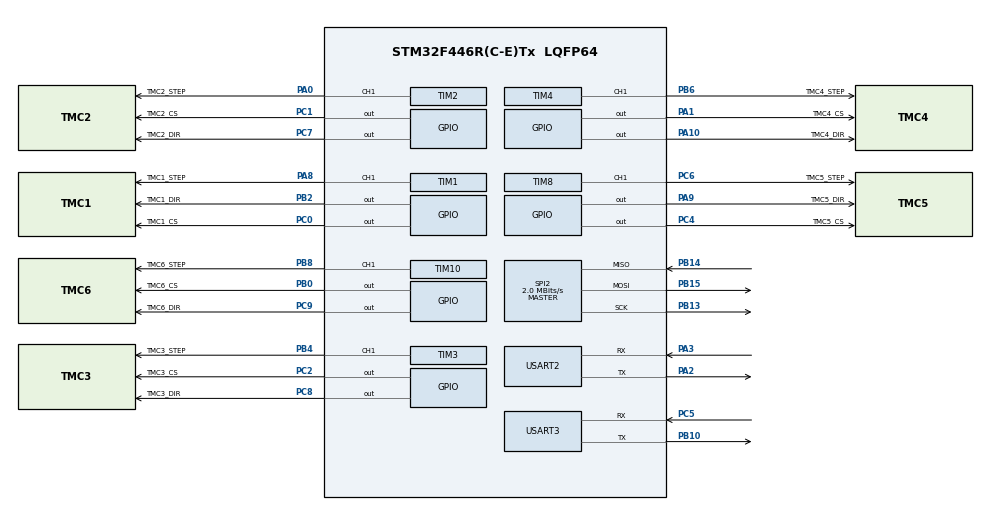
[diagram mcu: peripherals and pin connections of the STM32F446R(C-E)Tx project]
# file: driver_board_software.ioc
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Mcu.Family=STM32F4
Mcu.Name=STM32F446R(C-E)Tx
Mcu.Package=LQFP64
NVIC.PriorityGroup=NVIC_PRIORITYGROUP_4
NVIC.TIM1_UP_TIM10_IRQn=true\:0\:0\:false\:false\:true\:true\:true\:true
NVIC.TIM5_IRQn=true\:0\:0\:false\:false\:true\:true\:true\:true
NVIC.USART2_IRQn=true\:0\:0\:false\:false\:true\:true\:true\:true
NVIC.USART3_IRQn=true\:0\:0\:false\:false\:true\:true\:true\:true
PA0-WKUP.GPIO_Label=TMC2_STEP
PA0-WKUP.Signal=S_TIM2_CH1_ETR
PA1.GPIO_Label=TMC4_CS
PA1.PinState=GPIO_PIN_SET
PA1.Signal=GPIO_Output
PA10.GPIO_Label=TMC4_DIR
PA10.GPIO_Speed=GPIO_SPEED_FREQ_MEDIUM
PA10.PinState=GPIO_PIN_SET
PA10.Signal=GPIO_Output
PA2.Mode=Asynchronous
PA2.Signal=USART2_TX
PA3.Mode=Asynchronous
PA3.Signal=USART2_RX
PA8.GPIO_Label=TMC1_STEP
PA8.Signal=S_TIM1_CH1
PA9.GPIO_Label=TMC5_DIR
PA9.GPIO_Speed=GPIO_SPEED_FREQ_MEDIUM
PA9.PinState=GPIO_PIN_SET
PA9.Signal=GPIO_Output
PB0.GPIO_Label=TMC6_CS
PB0.GPIO_Speed=GPIO_SPEED_FREQ_MEDIUM
PB0.PinState=GPIO_PIN_SET
PB0.Signal=GPIO_Output
PB10.Mode=Asynchronous
PB10.Signal=USART3_TX
PB13.Mode=Full_Duplex_Master
PB13.Signal=SPI2_SCK
PB14.Mode=Full_Duplex_Master
PB14.Signal=SPI2_MISO
PB15.Mode=Full_Duplex_Master
PB15.Signal=SPI2_MOSI
PB2.GPIO_Label=TMC1_DIR
PB2.GPIO_Speed=GPIO_SPEED_FREQ_MEDIUM
PB2.PinState=GPIO_PIN_SET
PB2.Signal=GPIO_Output
PB4.GPIO_Label=TMC3_STEP
PB4.Signal=S_TIM3_CH1
PB6.GPIO_Label=TMC4_STEP
PB6.Signal=S_TIM4_CH1
PB8.GPIO_Label=TMC6_STEP
PB8.Signal=S_TIM10_CH1
PC0.GPIO_Label=TMC1_CS
PC0.PinState=GPIO_PIN_SET
PC0.Signal=GPIO_Output
PC1.GPIO_Label=TMC2_CS
PC1.GPIO_Speed=GPIO_SPEED_FREQ_LOW
PC1.PinState=GPIO_PIN_SET
PC1.Signal=GPIO_Output
PC2.GPIO_Label=TMC3_CS
PC2.PinState=GPIO_PIN_SET
PC2.Signal=GPIO_Output
PC4.GPIO_Label=TMC5_CS
PC4.GPIO_Speed=GPIO_SPEED_FREQ_MEDIUM
PC4.PinState=GPIO_PIN_SET
PC4.Signal=GPIO_Output
PC5.Mode=Asynchronous
PC5.Signal=USART3_RX
PC6.GPIO_Label=TMC5_STEP
PC6.Signal=S_TIM8_CH1
PC7.GPIO_Label=TMC2_DIR
PC7.PinState=GPIO_PIN_SET
PC7.Signal=GPIO_Output
PC8.GPIO_Label=TMC3_DIR
PC8.PinState=GPIO_PIN_SET
PC8.Signal=GPIO_Output
PC9.GPIO_Label=TMC6_DIR
PC9.PinState=GPIO_PIN_SET
PC9.Signal=GPIO_Output
ProjectManager.HeapSize=0x200
ProjectManager.StackSize=0x400
ProjectManager.TargetToolchain=STM32CubeIDE
RCC.CortexFreq_Value=16000000
RCC.USBFreq_Value=96000000
RCC.VCOOutputFreq_Value=192000000
SH.S_TIM10_CH1.0=TIM10_CH1,PWM Generation1 CH1
SH.S_TIM1_CH1.0=TIM1_CH1,PWM Generation1 CH1
SH.S_TIM2_CH1_ETR.0=TIM2_CH1,PWM Generation1 CH1
SH.S_TIM3_CH1.0=TIM3_CH1,PWM Generation1 CH1
SH.S_TIM4_CH1.0=TIM4_CH1,PWM Generation1 CH1
SH.S_TIM8_CH1.0=TIM8_CH1,PWM Generation1 CH1
SPI2.BaudRatePrescaler=SPI_BAUDRATEPRESCALER_8
SPI2.CLKPhase=SPI_PHASE_2EDGE
SPI2.CLKPolarity=SPI_POLARITY_HIGH
SPI2.CalculateBaudRate=2.0 MBits/s
SPI2.Direction=SPI_DIRECTION_2LINES
SPI2.Mode=SPI_MODE_MASTER
SPI2.VirtualType=VM_MASTER
TIM1.AutomaticOutput=TIM_AUTOMATICOUTPUT_ENABLE
TIM1.Channel-PWM\ Generation1\ CH1=TIM_CHANNEL_1
TIM1.Period=999
TIM1.Prescaler=15
TIM1.Pulse-PWM\ Generation1\ CH1=500
TIM10.Channel=TIM_CHANNEL_1
TIM10.Period=999
TIM10.Prescaler=15
TIM2.Channel-PWM\ Generation1\ CH1=TIM_CHANNEL_1
TIM2.Period=999
TIM2.Prescaler=15
TIM3.Channel-PWM\ Generation1\ CH1=TIM_CHANNEL_1
TIM3.Period=999
TIM3.Prescaler=15
TIM3.Pulse-PWM\ Generation1\ CH1=500
TIM4.Channel-PWM\ Generation1\ CH1=TIM_CHANNEL_1
TIM4.Period=999
TIM4.Prescaler=15
TIM4.Pulse-PWM\ Generation1\ CH1=500
TIM5.Period=999
TIM5.Prescaler=15
TIM8.Channel-PWM\ Generation1\ CH1=TIM_CHANNEL_1
TIM8.Period=999
TIM8.Prescaler=15
TIM8.Pulse-PWM\ Generation1\ CH1=500
USART2.VirtualMode=VM_ASYNC
USART3.VirtualMode=VM_ASYNC
VP_TIM10_VS_ClockSourceINT.Mode=Enable_Timer
VP_TIM1_VS_ClockSourceINT.Mode=Internal
VP_TIM2_VS_ClockSourceINT.Mode=Internal
VP_TIM3_VS_ClockSourceINT.Mode=Internal
VP_TIM4_VS_ClockSourceINT.Mode=Internal
VP_TIM5_VS_ClockSourceINT.Mode=Internal
VP_TIM8_VS_ClockSourceINT.Mode=Internal
board=custom

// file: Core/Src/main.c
/* USER CODE BEGIN Header */
/**
  ******************************************************************************
  * @file           : main.c
  * @brief          : Main program body
  ******************************************************************************
  * @attention
  *
  * Copyright (c) 2026 STMicroelectronics.
  * All rights reserved.
  *
  * This software is licensed under terms that can be found in the LICENSE file
  * in the root directory of this software component.
  * If no LICENSE file comes with this software, it is provided AS-IS.
  *
  ******************************************************************************
  */
/*
 * SPDX-License-Identifier: GPL-3.0-or-later
 * Copyright (c) 2026 Emanuel Käfer, Matteo Gassler, and Alexander Dick and contributors
 * This program is free software: you can redistribute it and/or modify
 * it under the terms of the GNU General Public License as published by
 * the Free Software Foundation, either version 3 of the License, or
 * (at your option) any later version.
 * This program is distributed WITHOUT ANY EXPRESS OR IMPLIED WARRANTY.
 * See LICENSE-SOFTWARE in the project root for details.
 */

/* USER CODE END Header */
#include "main.h"

SPI_HandleTypeDef hspi2;

TIM_HandleTypeDef htim1;
TIM_HandleTypeDef htim2;
TIM_HandleTypeDef htim3;
TIM_HandleTypeDef htim4;
TIM_HandleTypeDef htim5;
TIM_HandleTypeDef htim8;
TIM_HandleTypeDef htim10;

UART_HandleTypeDef huart2;
UART_HandleTypeDef huart3;

/* USER CODE BEGIN PV */

#define axis 2

#define PI 3.14159265359f //PI
#define MOTOR_STEPS 200.0f //steps/revolution
#define MICROSTEPS 16.0f //defined microsteps
#define GEAR_RATIO 20.0f //gear ratio for every axis

//uart setup
uint8_t rx_byte = 0;
char rx_buffer[128];
uint8_t rx_index = 0;
volatile uint8_t cmd_ready = 0;
uint8_t uart_result=0;

float target_steps[] ={0.0f, 0.0f, 0.0f,0.0f,0.0f,0.0f};
/* USER CODE END PV */

void SystemClock_Config(void);
static void MX_GPIO_Init(void);
static void MX_USART2_UART_Init(void);
static void MX_TIM1_Init(void);
static void MX_USART3_UART_Init(void);
static void MX_TIM2_Init(void);
static void MX_TIM3_Init(void);
static void MX_TIM4_Init(void);
static void MX_TIM5_Init(void);
static void MX_TIM8_Init(void);
static void MX_TIM10_Init(void);
static void MX_SPI2_Init(void);
/* USER CODE BEGIN PFP */
// Deklaration der TMC Funktion, falls nicht über Header verfügbar
//extern void TMC_WriteReg(uint8_t addr, uint32_t value);
//extern uint32_t TMC_ReadReg(uint8_t addr);
/* USER CODE END PFP */

/* USER CODE BEGIN 0 */

// Arrays für die Hardware-Timer
TIM_HandleTypeDef* AXIS_TIMERS[6] = {&htim1, &htim2, &htim3, &htim4, &htim8, &htim10};
uint32_t AXIS_CHANNELS[6] = {TIM_CHANNEL_1, TIM_CHANNEL_1, TIM_CHANNEL_1, TIM_CHANNEL_1, TIM_CHANNEL_1, TIM_CHANNEL_1};

// Homeangles from urdf base und 1 sind vertauscht wegen ding was nicht wolen lösen ich jetzt, müsste trotzdem funktionieren(auch in IQR ganz am ende sehen)
//-0.3470f
//float home_rad[6]={ 0.0f, 0.0f, 0.0f, 0.0f, 0.0f, 0.0f};//eig 0.0171f, 0.3500f, 0.3363f, -1.0126f, -0.0202f, 2.1291f aber stimmt nicht deshalb herausgemessen
//Limitangles from solidworks
//float limit_rad[6]={ 0.0171f, 1.3150f, 1.6177f, -1.0126f, 1.6481f, 2.1291f}; //0.0171f, 1.7615f, 1.6177f, -1.0126f, 1.6481f, 2.1291f

//array for homing pins
GPIO_TypeDef* DIR_PORTS[6] = {TMC1_DIR_GPIO_Port, TMC2_DIR_GPIO_Port,  TMC3_DIR_GPIO_Port, TMC4_DIR_GPIO_Port, TMC5_DIR_GPIO_Port, TMC6_DIR_GPIO_Port};
uint16_t DIR_PINS[6]  = {TMC1_DIR_Pin, TMC2_DIR_Pin,  TMC3_DIR_Pin, TMC4_DIR_Pin, TMC5_DIR_Pin, TMC6_DIR_Pin};

// Status-Variables
uint8_t ax = 0; // 0 = Base, 1 = Achse 1, ..., 5 = Achse 5

volatile uint32_t debug_counter = 0;

volatile uint32_t move_start_time = 0;
volatile uint32_t axis_finish_time[6] = {0};
volatile uint8_t print_results_flag = 0;

//registers for TMC
#define GSTAT 0x01
#define GCONF 0x00
#define IOIN 0x04
#define IHOLDIRUN 0x10	//write only, returns 0x0 when read
#define CHOPCONF 0X6C

// Constants for state machine
typedef enum {
    STATE_INIT,
    STATE_HOMING,
    STATE_HOMING_OFFSET,
    STATE_READY,
	STATE_MOVING,
    STATE_ERROR
} SystemState;

SystemState currentState = STATE_INIT;	//TODO: change back

//variables for ramp profile
typedef struct {
	float    current_freq;   // Hz, aktuelle Schrittfrequenz
	float    vmax;           // Hz, Zielgeschwindigkeit dieser Achse für diesen Move
	float    accel;          // Hz pro Sekunde
    float    pos;             // Schritte, als float für Sub-Schritt-Genauigkeit in der Integration
    float    target;          // Schritte, Ziel
    uint8_t  direction;
    uint8_t  active;
} AxisRamp;

AxisRamp axisRamp[6];

//Stop/Start
static void Step_Start(uint8_t ax)
{

    HAL_TIM_PWM_Start(AXIS_TIMERS[ax], AXIS_CHANNELS[ax]);

    // MOE force enable only Advanced Timern
    TIM_HandleTypeDef* htim = AXIS_TIMERS[ax];
    if (htim->Instance == TIM1 || htim->Instance == TIM8) {
    	__HAL_TIM_MOE_ENABLE(htim);
    }
}

static void Step_Stop(uint8_t ax)
{
    TIM_HandleTypeDef* htim = AXIS_TIMERS[ax];
    HAL_TIM_PWM_Stop(htim, AXIS_CHANNELS[ax]);
    HAL_TIM_Base_Stop_IT(htim);

    // MOE force disable only Advanced Timern
    if (htim->Instance == TIM1 || htim->Instance == TIM8) {
        __HAL_TIM_MOE_DISABLE_UNCONDITIONALLY(htim);
    }
}

//set frequenzy
static void Step_SetFreqHz(uint8_t ax, uint32_t freq_hz)
{
    TIM_HandleTypeDef* htim = AXIS_TIMERS[ax];
    uint32_t channel = AXIS_CHANNELS[ax];

    if (freq_hz == 0) {
        __HAL_TIM_SET_COMPARE(htim, channel, 0); // keine Pulse
        return;
    }

    const uint32_t timer_tick_hz = 1000000; // 1 MHz bei Prescaler=15 und 16MHz clock
    uint32_t arr = (timer_tick_hz / freq_hz) - 1;

    if (arr < 2) arr = 2;
    if (arr > 0xFFFF) arr = 0xFFFF;

    htim->Instance->CR1 |= TIM_CR1_ARPE;

    __HAL_TIM_SET_AUTORELOAD(htim, arr);
    __HAL_TIM_SET_COMPARE(htim, channel, (arr + 1) / 2); // 50% duty
}

//Ramps
void UpdateAllRamps(float dt, uint8_t min_freq)
{
	//debug_counter ++;
    for (uint8_t ax = 0; ax < axis; ax++) {
        if (!axisRamp[ax].active) continue;

        float remaining = axisRamp[ax].target - axisRamp[ax].pos;
        float dir_sign = (remaining >= 0) ? 1.0f : -1.0f;
        float remaining_abs = fabsf(remaining);

        // calculate breaking distance
        float decel_dist = (axisRamp[ax].current_freq * axisRamp[ax].current_freq)
                            / (2.0f * axisRamp[ax].accel);

        //calculating if decceleration or acceleration is needed
        if (remaining_abs <= decel_dist) {
            axisRamp[ax].current_freq -= axisRamp[ax].accel * dt;
        } else if (axisRamp[ax].current_freq < axisRamp[ax].vmax) {
            axisRamp[ax].current_freq += axisRamp[ax].accel * dt;
        }

        if (axisRamp[ax].current_freq < min_freq){
        	axisRamp[ax].current_freq = min_freq;
        }
        if (axisRamp[ax].current_freq > axisRamp[ax].vmax){
        	axisRamp[ax].current_freq = axisRamp[ax].vmax;
        }

        // Position update
        axisRamp[ax].pos += dir_sign * axisRamp[ax].current_freq * dt;

        //target reached
        if (remaining_abs < 1.0f) {
            Step_Stop(ax);
            axisRamp[ax].active = 0;
            axis_finish_time[ax] = HAL_GetTick() - move_start_time;

            continue;
        }
        //set a new frequency everytime for every axis
        Step_SetFreqHz(ax, (uint32_t)axisRamp[ax].current_freq);
    }
}

void StartMove(uint8_t ax, float target_steps, float vmax, float accel)
{

	printf("IN STARTMOVE\r\n");
    axisRamp[ax].pos = 0.0f;
    axisRamp[ax].target = target_steps;
    axisRamp[ax].vmax = vmax;
    axisRamp[ax].accel = accel;
    axisRamp[ax].current_freq = 50.0f;
    axisRamp[ax].active = 1;

    HAL_GPIO_WritePin(DIR_PORTS[ax], DIR_PINS[ax], target_steps>0 ? GPIO_PIN_SET : GPIO_PIN_RESET);

    Step_Start(ax);

}

// Berechnet vmax für eine Achse, damit sie in genau t Sekunden fertig ist
// bei fester Beschleunigung a und Distanz d
float ComputeSyncedVmax(float d, float a, float t)
{
    float disc = (a*t)*(a*t) - 4.0f*a*d;
    if (disc < 0.0f) disc = 0.0f;
    return (a*t - sqrtf(disc)) / 2.0f;
}

void StartSyncedMove(float target_steps[6], float accel, float vmax_max, uint8_t axis_count)
{
    float t_sync = 0.0f;

    // Calculating the time every axis would need for the distance if it would go to vmax.
    for (uint8_t i = 0; i < axis_count; i++) {
        float d = fabsf(target_steps[i]);
        if (d == 0.0f) continue;
        float t_i = (2.0f*vmax_max <= sqrtf(4*d*accel)) ? (d/vmax_max + vmax_max/accel) : (2.0f*sqrtf(d/accel)); //Trapez oder Dreieck ? Trapezformel : Dreiecksformel
        if (t_i > t_sync){
        	t_sync = t_i;	//es wird nach der längsten dauer gesucht und diese wird in t_synch gespeichert
        }
    }

    //Messvariablen zurücksetzen
        for(uint8_t i = 0; i < 6; i++) {
            axis_finish_time[i] = 0;
        }
        print_results_flag = 0;

        // 2. Startzeit merken (genau bevor die ersten Steps generiert werden)
        move_start_time = HAL_GetTick();

    //Für jede Achse vmax neu berechnen, damit alle bei t_sync fertig sind
    for (uint8_t i = 0; i < axis_count; i++) {
        float d = fabsf(target_steps[i]);
        float v = ComputeSyncedVmax(d, accel, t_sync);
        StartMove(i, target_steps[i], v, accel);
    }
}

uint8_t process_uart_command(void) {
    // Wenn kein neuer Befehl vorliegt, sofort abbrechen
    if (!cmd_ready) {
        return 0;
    }
    uint8_t result=0;
    cmd_ready = 0; // Flag zurücksetzen

    // Fall 1: Homing-Befehl
    if (strncmp(rx_buffer, "HOME", 4) == 0) {
        //printf("OK\n");
        result = 1;
    }
    // Fall 2: Bewegungsbefehl ("MOVE J1:... J2:...")
    else if (strncmp(rx_buffer, "MOVE", 4) == 0) {
        int parsed = sscanf(rx_buffer, "MOVE J1:%f J2:%f J3:%f J4:%f J5:%f J6:%f",
                            &target_steps[0], &target_steps[1], &target_steps[2],
                            &target_steps[3], &target_steps[4], &target_steps[5]);

        if (parsed == 6.0) {
        	result = 2;//normale sachen abfahren
        	//for (uint8_t i = 0; i<6; i++){
			//	printf("target steps %d: %f", i, target_steps[i]);
			} else {
				result = -1;//error
			}

    }

    // Puffer leeren für die nächste Nachricht
    memset(rx_buffer, 0, sizeof(rx_buffer));

    return result;
}

/* USER CODE END 0 */

int main(void)
{

  /* MCU Configuration--------------------------------------------------------*/

  /* Reset of all peripherals, Initializes the Flash interface and the Systick. */
  HAL_Init();

  /* Configure the system clock */
  SystemClock_Config();

  /* Initialize all configured peripherals */
  MX_GPIO_Init();
  MX_USART2_UART_Init();
  MX_TIM1_Init();
  MX_USART3_UART_Init();
  MX_TIM2_Init();
  MX_TIM3_Init();
  MX_TIM4_Init();
  MX_TIM5_Init();
  MX_TIM8_Init();
  MX_TIM10_Init();
  MX_SPI2_Init();
  /* USER CODE BEGIN 2 */
  //uart empfang aktivieren
  HAL_UART_Receive_IT(&huart2, &rx_byte, 1);
  HAL_UART_Receive_IT(&huart3, &rx_byte, 1);
  //start TIM5 in interrupt mode
  HAL_TIM_Base_Start_IT(&htim5);	//goofy ahh das ma des selber mochn muas lowk so 3tog debugen bis i do draufkemma bi
  /* USER CODE END 2 */

  /* Infinite loop */
  while (1)
  {

    /* USER CODE BEGIN 3 */
    switch (currentState)
    {
      case STATE_INIT:
        HAL_Delay(500); //Boot-Delay für die TMC Treiber!
        printf("\r\n--- Starte TMC5160 Initialisierung ---\r\n");
        uint8_t all_ok = 1;
        for (uint8_t ax = 0; ax < axis; ax++) {
			printf("axis %d\r\n", ax );
        	TMC_WriteReg(ax, GSTAT, 0x00000007);
        	printf("GSTAT of %d: 0x%08lx\r\n",ax, TMC_ReadReg(ax, GSTAT));

        	TMC_WriteReg(ax, GCONF, 0x00000005);
        	printf("GCONF of %d: 0x%08lx\r\n",ax, TMC_ReadReg(ax, GCONF));

        	TMC_WriteReg(ax, IHOLDIRUN, 0x0008100A);

        	TMC_WriteReg(ax, CHOPCONF, 0x100C0403);
        	printf("CHOPCONF of %d: 0x%08lx\r\n",ax, TMC_ReadReg(ax, CHOPCONF));

        	if (TMC_ReadReg(ax, GSTAT)==0x0) {
        		printf("GSTAT of %d ok, going into ready\r\n",ax);

        	}else {
        		printf("GSTAT of %d not ok:((  : 0x%08lx\r\n",ax, TMC_ReadReg(ax, GSTAT));
        		all_ok=0;
        	}
        }

        currentState = all_ok ? STATE_READY : STATE_ERROR;

        break;

      case STATE_HOMING:
          printf("OK\n\r");

          break;

      case STATE_HOMING_OFFSET:
//    	  if (print_results_flag == 0) {
//
//    	          uint8_t all_finished = 1;
//    	          for(uint8_t i = 0; i < axis; i++) {
//    	              // Wenn eine Achse losfahren sollte, aber ihr active-Flag noch 1 ist
//    	              if (axisRamp[i].active == 1) {
//    	                  all_finished = 0;
//    	                  break; // Nicht alle fertig, Prüfung abbrechen
//    	              }
//    	          }
//
//    	          // Wenn alle Achsen fertig sind -> Ergebnisse ausdrucken!
//    	          if (all_finished == 1) {
//    	              printf("\n--- Synchronisations-Test ---\n");
//    	              for(uint8_t i = 0; i < axis; i++) {
//    	                  if (target_steps[i] != 0.0f) { // Nur bewegte Achsen anzeigen
//    	                      printf("Achse %d: %lu ms\n", i, axis_finish_time[i]);
//
//    	              }
//    	              printf("-----------------------------\n");
//
//    	              // Flag setzen, damit wir nicht endlos spammen
//    	              print_results_flag = 1;
//
//    	          }
//    	          //currentState=STATE_HOMING;
//    	      }
          break;

      case STATE_READY:
    	  //printf("MOVvvvvvvvvvvvvvING\r\n");
    	  uart_result = process_uart_command();
    	  if (uart_result==1){
    		  currentState=STATE_HOMING;
    	  }else if (uart_result==2) {
    		  currentState=STATE_MOVING;
		} else if (uart_result==-1) {
			currentState=STATE_ERROR;
		}

    	  //currentState=STATE_MOVING;
          break;

      case STATE_MOVING:
    	  printf("MOVING\r\n");
    	  for (uint8_t i= 0; i < 5; i++) {
			printf("targetsteps %f", target_steps[i]);
		}
    	  StartSyncedMove(target_steps, 5000, 20000, axis);
    	  currentState=STATE_HOMING_OFFSET;
	  	  break;

      case STATE_ERROR:
    	  printf("BAD");
    	  currentState=STATE_HOMING_OFFSET;
          break;

    }
  }
  /* USER CODE END 3 */
}

void SystemClock_Config(void)
{
  RCC_OscInitTypeDef RCC_OscInitStruct = {0};
  RCC_ClkInitTypeDef RCC_ClkInitStruct = {0};

  /** Configure the main internal regulator output voltage
  */
  __HAL_RCC_PWR_CLK_ENABLE();
  __HAL_PWR_VOLTAGESCALING_CONFIG(PWR_REGULATOR_VOLTAGE_SCALE3);

  /** Initializes the RCC Oscillators according to the specified parameters
  * in the RCC_OscInitTypeDef structure.
  */
  RCC_OscInitStruct.OscillatorType = RCC_OSCILLATORTYPE_HSI;
  RCC_OscInitStruct.HSIState = RCC_HSI_ON;
  RCC_OscInitStruct.HSICalibrationValue = RCC_HSICALIBRATION_DEFAULT;
  RCC_OscInitStruct.PLL.PLLState = RCC_PLL_NONE;
  if (HAL_RCC_OscConfig(&RCC_OscInitStruct) != HAL_OK)
  {
    Error_Handler();
  }

  /** Initializes the CPU, AHB and APB buses clocks
  */
  RCC_ClkInitStruct.ClockType = RCC_CLOCKTYPE_HCLK|RCC_CLOCKTYPE_SYSCLK
                              |RCC_CLOCKTYPE_PCLK1|RCC_CLOCKTYPE_PCLK2;
  RCC_ClkInitStruct.SYSCLKSource = RCC_SYSCLKSOURCE_HSI;
  RCC_ClkInitStruct.AHBCLKDivider = RCC_SYSCLK_DIV1;
  RCC_ClkInitStruct.APB1CLKDivider = RCC_HCLK_DIV1;
  RCC_ClkInitStruct.APB2CLKDivider = RCC_HCLK_DIV1;

  if (HAL_RCC_ClockConfig(&RCC_ClkInitStruct, FLASH_LATENCY_0) != HAL_OK)
  {
    Error_Handler();
  }
}

static void MX_SPI2_Init(void)
{

  /* SPI2 parameter configuration*/
  hspi2.Instance = SPI2;
  hspi2.Init.Mode = SPI_MODE_MASTER;
  hspi2.Init.Direction = SPI_DIRECTION_2LINES;
  hspi2.Init.DataSize = SPI_DATASIZE_8BIT;
  hspi2.Init.CLKPolarity = SPI_POLARITY_HIGH;
  hspi2.Init.CLKPhase = SPI_PHASE_2EDGE;
  hspi2.Init.NSS = SPI_NSS_SOFT;
  hspi2.Init.BaudRatePrescaler = SPI_BAUDRATEPRESCALER_8;
  hspi2.Init.FirstBit = SPI_FIRSTBIT_MSB;
  hspi2.Init.TIMode = SPI_TIMODE_DISABLE;
  hspi2.Init.CRCCalculation = SPI_CRCCALCULATION_DISABLE;
  hspi2.Init.CRCPolynomial = 10;
  if (HAL_SPI_Init(&hspi2) != HAL_OK)
  {
    Error_Handler();
  }

}

static void MX_TIM1_Init(void)
{

  TIM_ClockConfigTypeDef sClockSourceConfig = {0};
  TIM_MasterConfigTypeDef sMasterConfig = {0};
  TIM_OC_InitTypeDef sConfigOC = {0};
  TIM_BreakDeadTimeConfigTypeDef sBreakDeadTimeConfig = {0};

  htim1.Instance = TIM1;
  htim1.Init.Prescaler = 15;
  htim1.Init.CounterMode = TIM_COUNTERMODE_UP;
  htim1.Init.Period = 999;
  htim1.Init.ClockDivision = TIM_CLOCKDIVISION_DIV1;
  htim1.Init.RepetitionCounter = 0;
  htim1.Init.AutoReloadPreload = TIM_AUTORELOAD_PRELOAD_DISABLE;
  if (HAL_TIM_Base_Init(&htim1) != HAL_OK)
  {
    Error_Handler();
  }
  sClockSourceConfig.ClockSource = TIM_CLOCKSOURCE_INTERNAL;
  if (HAL_TIM_ConfigClockSource(&htim1, &sClockSourceConfig) != HAL_OK)
  {
    Error_Handler();
  }
  if (HAL_TIM_PWM_Init(&htim1) != HAL_OK)
  {
    Error_Handler();
  }
  sMasterConfig.MasterOutputTrigger = TIM_TRGO_RESET;
  sMasterConfig.MasterSlaveMode = TIM_MASTERSLAVEMODE_DISABLE;
  if (HAL_TIMEx_MasterConfigSynchronization(&htim1, &sMasterConfig) != HAL_OK)
  {
    Error_Handler();
  }
  sConfigOC.OCMode = TIM_OCMODE_PWM1;
  sConfigOC.Pulse = 500;
  sConfigOC.OCPolarity = TIM_OCPOLARITY_HIGH;
  sConfigOC.OCNPolarity = TIM_OCNPOLARITY_HIGH;
  sConfigOC.OCFastMode = TIM_OCFAST_DISABLE;
  sConfigOC.OCIdleState = TIM_OCIDLESTATE_RESET;
  sConfigOC.OCNIdleState = TIM_OCNIDLESTATE_RESET;
  if (HAL_TIM_PWM_ConfigChannel(&htim1, &sConfigOC, TIM_CHANNEL_1) != HAL_OK)
  {
    Error_Handler();
  }
  sBreakDeadTimeConfig.OffStateRunMode = TIM_OSSR_DISABLE;
  sBreakDeadTimeConfig.OffStateIDLEMode = TIM_OSSI_DISABLE;
  sBreakDeadTimeConfig.LockLevel = TIM_LOCKLEVEL_OFF;
  sBreakDeadTimeConfig.DeadTime = 0;
  sBreakDeadTimeConfig.BreakState = TIM_BREAK_DISABLE;
  sBreakDeadTimeConfig.BreakPolarity = TIM_BREAKPOLARITY_HIGH;
  sBreakDeadTimeConfig.AutomaticOutput = TIM_AUTOMATICOUTPUT_ENABLE;
  if (HAL_TIMEx_ConfigBreakDeadTime(&htim1, &sBreakDeadTimeConfig) != HAL_OK)
  {
    Error_Handler();
  }
  HAL_TIM_MspPostInit(&htim1);

}

static void MX_TIM2_Init(void)
{

  TIM_ClockConfigTypeDef sClockSourceConfig = {0};
  TIM_MasterConfigTypeDef sMasterConfig = {0};
  TIM_OC_InitTypeDef sConfigOC = {0};

  htim2.Instance = TIM2;
  htim2.Init.Prescaler = 15;
  htim2.Init.CounterMode = TIM_COUNTERMODE_UP;
  htim2.Init.Period = 999;
  htim2.Init.ClockDivision = TIM_CLOCKDIVISION_DIV1;
  htim2.Init.AutoReloadPreload = TIM_AUTORELOAD_PRELOAD_DISABLE;
  if (HAL_TIM_Base_Init(&htim2) != HAL_OK)
  {
    Error_Handler();
  }
  sClockSourceConfig.ClockSource = TIM_CLOCKSOURCE_INTERNAL;
  if (HAL_TIM_ConfigClockSource(&htim2, &sClockSourceConfig) != HAL_OK)
  {
    Error_Handler();
  }
  if (HAL_TIM_PWM_Init(&htim2) != HAL_OK)
  {
    Error_Handler();
  }
  sMasterConfig.MasterOutputTrigger = TIM_TRGO_RESET;
  sMasterConfig.MasterSlaveMode = TIM_MASTERSLAVEMODE_DISABLE;
  if (HAL_TIMEx_MasterConfigSynchronization(&htim2, &sMasterConfig) != HAL_OK)
  {
    Error_Handler();
  }
  sConfigOC.OCMode = TIM_OCMODE_PWM1;
  sConfigOC.Pulse = 0;
  sConfigOC.OCPolarity = TIM_OCPOLARITY_HIGH;
  sConfigOC.OCFastMode = TIM_OCFAST_DISABLE;
  if (HAL_TIM_PWM_ConfigChannel(&htim2, &sConfigOC, TIM_CHANNEL_1) != HAL_OK)
  {
    Error_Handler();
  }
  HAL_TIM_MspPostInit(&htim2);

}

static void MX_TIM3_Init(void)
{

  TIM_ClockConfigTypeDef sClockSourceConfig = {0};
  TIM_MasterConfigTypeDef sMasterConfig = {0};
  TIM_OC_InitTypeDef sConfigOC = {0};

  htim3.Instance = TIM3;
  htim3.Init.Prescaler = 15;
  htim3.Init.CounterMode = TIM_COUNTERMODE_UP;
  htim3.Init.Period = 999;
  htim3.Init.ClockDivision = TIM_CLOCKDIVISION_DIV1;
  htim3.Init.AutoReloadPreload = TIM_AUTORELOAD_PRELOAD_DISABLE;
  if (HAL_TIM_Base_Init(&htim3) != HAL_OK)
  {
    Error_Handler();
  }
  sClockSourceConfig.ClockSource = TIM_CLOCKSOURCE_INTERNAL;
  if (HAL_TIM_ConfigClockSource(&htim3, &sClockSourceConfig) != HAL_OK)
  {
    Error_Handler();
  }
  if (HAL_TIM_PWM_Init(&htim3) != HAL_OK)
  {
    Error_Handler();
  }
  sMasterConfig.MasterOutputTrigger = TIM_TRGO_RESET;
  sMasterConfig.MasterSlaveMode = TIM_MASTERSLAVEMODE_DISABLE;
  if (HAL_TIMEx_MasterConfigSynchronization(&htim3, &sMasterConfig) != HAL_OK)
  {
    Error_Handler();
  }
  sConfigOC.OCMode = TIM_OCMODE_PWM1;
  sConfigOC.Pulse = 500;
  sConfigOC.OCPolarity = TIM_OCPOLARITY_HIGH;
  sConfigOC.OCFastMode = TIM_OCFAST_DISABLE;
  if (HAL_TIM_PWM_ConfigChannel(&htim3, &sConfigOC, TIM_CHANNEL_1) != HAL_OK)
  {
    Error_Handler();
  }
  HAL_TIM_MspPostInit(&htim3);

}

static void MX_TIM4_Init(void)
{

  TIM_ClockConfigTypeDef sClockSourceConfig = {0};
  TIM_MasterConfigTypeDef sMasterConfig = {0};
  TIM_OC_InitTypeDef sConfigOC = {0};

  htim4.Instance = TIM4;
  htim4.Init.Prescaler = 15;
  htim4.Init.CounterMode = TIM_COUNTERMODE_UP;
  htim4.Init.Period = 999;
  htim4.Init.ClockDivision = TIM_CLOCKDIVISION_DIV1;
  htim4.Init.AutoReloadPreload = TIM_AUTORELOAD_PRELOAD_DISABLE;
  if (HAL_TIM_Base_Init(&htim4) != HAL_OK)
  {
    Error_Handler();
  }
  sClockSourceConfig.ClockSource = TIM_CLOCKSOURCE_INTERNAL;
  if (HAL_TIM_ConfigClockSource(&htim4, &sClockSourceConfig) != HAL_OK)
  {
    Error_Handler();
  }
  if (HAL_TIM_PWM_Init(&htim4) != HAL_OK)
  {
    Error_Handler();
  }
  sMasterConfig.MasterOutputTrigger = TIM_TRGO_RESET;
  sMasterConfig.MasterSlaveMode = TIM_MASTERSLAVEMODE_DISABLE;
  if (HAL_TIMEx_MasterConfigSynchronization(&htim4, &sMasterConfig) != HAL_OK)
  {
    Error_Handler();
  }
  sConfigOC.OCMode = TIM_OCMODE_PWM1;
  sConfigOC.Pulse = 500;
  sConfigOC.OCPolarity = TIM_OCPOLARITY_HIGH;
  sConfigOC.OCFastMode = TIM_OCFAST_DISABLE;
  if (HAL_TIM_PWM_ConfigChannel(&htim4, &sConfigOC, TIM_CHANNEL_1) != HAL_OK)
  {
    Error_Handler();
  }
  HAL_TIM_MspPostInit(&htim4);

}

static void MX_TIM5_Init(void)
{

  TIM_ClockConfigTypeDef sClockSourceConfig = {0};
  TIM_MasterConfigTypeDef sMasterConfig = {0};

  htim5.Instance = TIM5;
  htim5.Init.Prescaler = 15;
  htim5.Init.CounterMode = TIM_COUNTERMODE_UP;
  htim5.Init.Period = 999;
  htim5.Init.ClockDivision = TIM_CLOCKDIVISION_DIV1;
  htim5.Init.AutoReloadPreload = TIM_AUTORELOAD_PRELOAD_DISABLE;
  if (HAL_TIM_Base_Init(&htim5) != HAL_OK)
  {
    Error_Handler();
  }
  sClockSourceConfig.ClockSource = TIM_CLOCKSOURCE_INTERNAL;
  if (HAL_TIM_ConfigClockSource(&htim5, &sClockSourceConfig) != HAL_OK)
  {
    Error_Handler();
  }
  sMasterConfig.MasterOutputTrigger = TIM_TRGO_RESET;
  sMasterConfig.MasterSlaveMode = TIM_MASTERSLAVEMODE_DISABLE;
  if (HAL_TIMEx_MasterConfigSynchronization(&htim5, &sMasterConfig) != HAL_OK)
  {
    Error_Handler();
  }

}

static void MX_TIM8_Init(void)
{

  TIM_ClockConfigTypeDef sClockSourceConfig = {0};
  TIM_MasterConfigTypeDef sMasterConfig = {0};
  TIM_OC_InitTypeDef sConfigOC = {0};
  TIM_BreakDeadTimeConfigTypeDef sBreakDeadTimeConfig = {0};

  htim8.Instance = TIM8;
  htim8.Init.Prescaler = 15;
  htim8.Init.CounterMode = TIM_COUNTERMODE_UP;
  htim8.Init.Period = 999;
  htim8.Init.ClockDivision = TIM_CLOCKDIVISION_DIV1;
  htim8.Init.RepetitionCounter = 0;
  htim8.Init.AutoReloadPreload = TIM_AUTORELOAD_PRELOAD_DISABLE;
  if (HAL_TIM_Base_Init(&htim8) != HAL_OK)
  {
    Error_Handler();
  }
  sClockSourceConfig.ClockSource = TIM_CLOCKSOURCE_INTERNAL;
  if (HAL_TIM_ConfigClockSource(&htim8, &sClockSourceConfig) != HAL_OK)
  {
    Error_Handler();
  }
  if (HAL_TIM_PWM_Init(&htim8) != HAL_OK)
  {
    Error_Handler();
  }
  sMasterConfig.MasterOutputTrigger = TIM_TRGO_RESET;
  sMasterConfig.MasterSlaveMode = TIM_MASTERSLAVEMODE_DISABLE;
  if (HAL_TIMEx_MasterConfigSynchronization(&htim8, &sMasterConfig) != HAL_OK)
  {
    Error_Handler();
  }
  sConfigOC.OCMode = TIM_OCMODE_PWM1;
  sConfigOC.Pulse = 500;
  sConfigOC.OCPolarity = TIM_OCPOLARITY_HIGH;
  sConfigOC.OCNPolarity = TIM_OCNPOLARITY_HIGH;
  sConfigOC.OCFastMode = TIM_OCFAST_DISABLE;
  sConfigOC.OCIdleState = TIM_OCIDLESTATE_RESET;
  sConfigOC.OCNIdleState = TIM_OCNIDLESTATE_RESET;
  if (HAL_TIM_PWM_ConfigChannel(&htim8, &sConfigOC, TIM_CHANNEL_1) != HAL_OK)
  {
    Error_Handler();
  }
  sBreakDeadTimeConfig.OffStateRunMode = TIM_OSSR_DISABLE;
  sBreakDeadTimeConfig.OffStateIDLEMode = TIM_OSSI_DISABLE;
  sBreakDeadTimeConfig.LockLevel = TIM_LOCKLEVEL_OFF;
  sBreakDeadTimeConfig.DeadTime = 0;
  sBreakDeadTimeConfig.BreakState = TIM_BREAK_DISABLE;
  sBreakDeadTimeConfig.BreakPolarity = TIM_BREAKPOLARITY_HIGH;
  sBreakDeadTimeConfig.AutomaticOutput = TIM_AUTOMATICOUTPUT_DISABLE;
  if (HAL_TIMEx_ConfigBreakDeadTime(&htim8, &sBreakDeadTimeConfig) != HAL_OK)
  {
    Error_Handler();
  }
  HAL_TIM_MspPostInit(&htim8);

}

static void MX_TIM10_Init(void)
{

  TIM_OC_InitTypeDef sConfigOC = {0};

  htim10.Instance = TIM10;
  htim10.Init.Prescaler = 15;
  htim10.Init.CounterMode = TIM_COUNTERMODE_UP;
  htim10.Init.Period = 999;
  htim10.Init.ClockDivision = TIM_CLOCKDIVISION_DIV1;
  htim10.Init.AutoReloadPreload = TIM_AUTORELOAD_PRELOAD_DISABLE;
  if (HAL_TIM_Base_Init(&htim10) != HAL_OK)
  {
    Error_Handler();
  }
  if (HAL_TIM_PWM_Init(&htim10) != HAL_OK)
  {
    Error_Handler();
  }
  sConfigOC.OCMode = TIM_OCMODE_PWM1;
  sConfigOC.Pulse = 0;
  sConfigOC.OCPolarity = TIM_OCPOLARITY_HIGH;
  sConfigOC.OCFastMode = TIM_OCFAST_DISABLE;
  if (HAL_TIM_PWM_ConfigChannel(&htim10, &sConfigOC, TIM_CHANNEL_1) != HAL_OK)
  {
    Error_Handler();
  }
  HAL_TIM_MspPostInit(&htim10);

}

static void MX_USART2_UART_Init(void)
{

  huart2.Instance = USART2;
  huart2.Init.BaudRate = 115200;
  huart2.Init.WordLength = UART_WORDLENGTH_8B;
  huart2.Init.StopBits = UART_STOPBITS_1;
  huart2.Init.Parity = UART_PARITY_NONE;
  huart2.Init.Mode = UART_MODE_TX_RX;
  huart2.Init.HwFlowCtl = UART_HWCONTROL_NONE;
  huart2.Init.OverSampling = UART_OVERSAMPLING_16;
  if (HAL_UART_Init(&huart2) != HAL_OK)
  {
    Error_Handler();
  }

}

static void MX_USART3_UART_Init(void)
{

  huart3.Instance = USART3;
  huart3.Init.BaudRate = 115200;
  huart3.Init.WordLength = UART_WORDLENGTH_8B;
  huart3.Init.StopBits = UART_STOPBITS_1;
  huart3.Init.Parity = UART_PARITY_NONE;
  huart3.Init.Mode = UART_MODE_TX_RX;
  huart3.Init.HwFlowCtl = UART_HWCONTROL_NONE;
  huart3.Init.OverSampling = UART_OVERSAMPLING_16;
  if (HAL_UART_Init(&huart3) != HAL_OK)
  {
    Error_Handler();
  }

}

static void MX_GPIO_Init(void)
{
  GPIO_InitTypeDef GPIO_InitStruct = {0};

  /* GPIO Ports Clock Enable */
  __HAL_RCC_GPIOC_CLK_ENABLE();
  __HAL_RCC_GPIOA_CLK_ENABLE();
  __HAL_RCC_GPIOB_CLK_ENABLE();

  /*Configure GPIO pin Output Level */
  HAL_GPIO_WritePin(GPIOC, TMC1_CS_Pin|TMC2_CS_Pin|TMC3_CS_Pin|TMC5_CS_Pin
                          |TMC2_DIR_Pin|TMC3_DIR_Pin|TMC6_DIR_Pin, GPIO_PIN_SET);

  /*Configure GPIO pin Output Level */
  HAL_GPIO_WritePin(GPIOA, TMC4_CS_Pin|TMC5_DIR_Pin|TMC4_DIR_Pin, GPIO_PIN_SET);

  /*Configure GPIO pin Output Level */
  HAL_GPIO_WritePin(GPIOB, TMC6_CS_Pin|TMC1_DIR_Pin, GPIO_PIN_SET);

  /*Configure GPIO pins : TMC1_CS_Pin TMC2_CS_Pin TMC3_CS_Pin TMC2_DIR_Pin
                           TMC3_DIR_Pin TMC6_DIR_Pin */
  GPIO_InitStruct.Pin = TMC1_CS_Pin|TMC2_CS_Pin|TMC3_CS_Pin|TMC2_DIR_Pin
                          |TMC3_DIR_Pin|TMC6_DIR_Pin;
  GPIO_InitStruct.Mode = GPIO_MODE_OUTPUT_PP;
  GPIO_InitStruct.Pull = GPIO_NOPULL;
  GPIO_InitStruct.Speed = GPIO_SPEED_FREQ_LOW;
  HAL_GPIO_Init(GPIOC, &GPIO_InitStruct);

  /*Configure GPIO pin : TMC4_CS_Pin */
  GPIO_InitStruct.Pin = TMC4_CS_Pin;
  GPIO_InitStruct.Mode = GPIO_MODE_OUTPUT_PP;
  GPIO_InitStruct.Pull = GPIO_NOPULL;
  GPIO_InitStruct.Speed = GPIO_SPEED_FREQ_LOW;
  HAL_GPIO_Init(TMC4_CS_GPIO_Port, &GPIO_InitStruct);

  /*Configure GPIO pin : TMC5_CS_Pin */
  GPIO_InitStruct.Pin = TMC5_CS_Pin;
  GPIO_InitStruct.Mode = GPIO_MODE_OUTPUT_PP;
  GPIO_InitStruct.Pull = GPIO_NOPULL;
  GPIO_InitStruct.Speed = GPIO_SPEED_FREQ_MEDIUM;
  HAL_GPIO_Init(TMC5_CS_GPIO_Port, &GPIO_InitStruct);

  /*Configure GPIO pins : TMC6_CS_Pin TMC1_DIR_Pin */
  GPIO_InitStruct.Pin = TMC6_CS_Pin|TMC1_DIR_Pin;
  GPIO_InitStruct.Mode = GPIO_MODE_OUTPUT_PP;
  GPIO_InitStruct.Pull = GPIO_NOPULL;
  GPIO_InitStruct.Speed = GPIO_SPEED_FREQ_MEDIUM;
  HAL_GPIO_Init(GPIOB, &GPIO_InitStruct);

  /*Configure GPIO pins : TMC5_DIR_Pin TMC4_DIR_Pin */
  GPIO_InitStruct.Pin = TMC5_DIR_Pin|TMC4_DIR_Pin;
  GPIO_InitStruct.Mode = GPIO_MODE_OUTPUT_PP;
  GPIO_InitStruct.Pull = GPIO_NOPULL;
  GPIO_InitStruct.Speed = GPIO_SPEED_FREQ_MEDIUM;
  HAL_GPIO_Init(GPIOA, &GPIO_InitStruct);

  /* USER CODE BEGIN MX_GPIO_Init_2 */

  HAL_NVIC_SetPriority(EXTI15_10_IRQn, 5, 0);
  HAL_NVIC_EnableIRQ(EXTI15_10_IRQn);

  HAL_NVIC_SetPriority(EXTI2_IRQn, 5, 0);
  HAL_NVIC_EnableIRQ(EXTI2_IRQn);

  /* USER CODE END MX_GPIO_Init_2 */
}

/* USER CODE BEGIN 4 */

// Callback für Timer Interrupts aller Achsen (zählt Schritte)
void HAL_TIM_PeriodElapsedCallback(TIM_HandleTypeDef *htim)
{
        if (htim->Instance == TIM5) {
        	UpdateAllRamps(0.001f, 50);
    }
}

// EXTI15_10 callback for homing switches
void HAL_GPIO_EXTI_Callback(uint16_t GPIO_Pin)
{

}

int _write(int file, char *ptr, int len) {
    HAL_UART_Transmit(&huart2, (uint8_t*)ptr, len, HAL_MAX_DELAY);
    return len;
}

void HAL_UART_RxCpltCallback(UART_HandleTypeDef *huart) {
    if (huart->Instance == USART2) {
        if (rx_byte == '\n' || rx_byte == '\r') {
            if (rx_index > 0) {
                rx_buffer[rx_index] = '\0'; // String terminieren
                cmd_ready = 1;              // Hauptschleife Bescheid geben
                rx_index = 0;
            }
        } else {
            if (rx_index < sizeof(rx_buffer) - 1) {
                rx_buffer[rx_index++] = rx_byte;
            }
        }
        // Interrupt für das nächste Byte direkt wieder scharfschalten
        HAL_UART_Receive_IT(&huart2, &rx_byte, 1);
    }
}

/* USER CODE END 4 */

void Error_Handler(void)
{
  __disable_irq();
  while (1)
  {
  }
}
